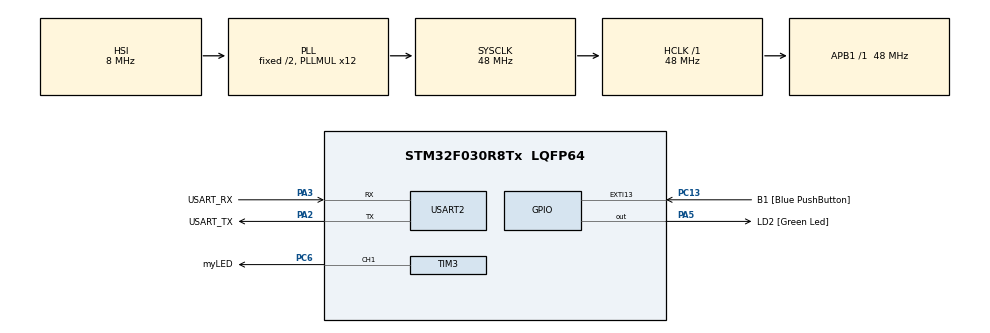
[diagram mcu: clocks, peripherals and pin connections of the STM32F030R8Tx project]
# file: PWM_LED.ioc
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Mcu.Family=STM32F0
Mcu.Name=STM32F030R8Tx
Mcu.Package=LQFP64
PA13.GPIO_Label=TMS
PA13.Mode=Serial_Wire
PA13.Signal=SYS_SWDIO
PA14.GPIO_Label=TCK
PA14.Mode=Serial_Wire
PA14.Signal=SYS_SWCLK
PA2.GPIO_Label=USART_TX
PA2.GPIO_Mode=GPIO_MODE_AF_PP
PA2.GPIO_PuPd=GPIO_NOPULL
PA2.GPIO_Speed=GPIO_SPEED_FREQ_LOW
PA2.Mode=Asynchronous
PA2.Signal=USART2_TX
PA3.GPIO_Label=USART_RX
PA3.GPIO_Mode=GPIO_MODE_AF_PP
PA3.GPIO_PuPd=GPIO_NOPULL
PA3.GPIO_Speed=GPIO_SPEED_FREQ_LOW
PA3.Mode=Asynchronous
PA3.Signal=USART2_RX
PA5.GPIO_Label=LD2 [Green Led]
PA5.GPIO_Mode=GPIO_MODE_OUTPUT_PP
PA5.GPIO_PuPd=GPIO_NOPULL
PA5.GPIO_Speed=GPIO_SPEED_FREQ_LOW
PA5.Signal=GPIO_Output
PC13.GPIO_Label=B1 [Blue PushButton]
PC13.GPIO_ModeDefaultEXTI=GPIO_MODE_IT_FALLING
PC13.Signal=GPXTI13
PC14-OSC32_IN.Mode=LSE-External-Oscillator
PC14-OSC32_IN.Signal=RCC_OSC32_IN
PC15-OSC32_OUT.Mode=LSE-External-Oscillator
PC15-OSC32_OUT.Signal=RCC_OSC32_OUT
PC6.GPIO_Label=myLED
PC6.Signal=S_TIM3_CH1
PF0-OSC_IN.Mode=HSE-External-Clock-Source
PF0-OSC_IN.Signal=RCC_OSC_IN
PF1-OSC_OUT.Signal=RCC_OSC_OUT
ProjectManager.HeapSize=0x200
ProjectManager.StackSize=0x400
ProjectManager.TargetToolchain=STM32CubeIDE
RCC.AHBFreq_Value=48000000
RCC.APB1Freq_Value=48000000
RCC.APB1TimFreq_Value=48000000
RCC.HCLKFreq_Value=48000000
RCC.PLLMUL=RCC_PLL_MUL12
RCC.SYSCLKFreq_VALUE=48000000
RCC.SYSCLKSource=RCC_SYSCLKSOURCE_PLLCLK
SH.S_TIM3_CH1.0=TIM3_CH1,PWM Generation1 CH1
TIM3.Channel-PWM\ Generation1\ CH1=TIM_CHANNEL_1
TIM3.Period=50
TIM3.Prescaler=5000
TIM3.Pulse-PWM\ Generation1\ CH1=25
USART2.VirtualMode-Asynchronous=VM_ASYNC
VP_TIM3_VS_ClockSourceINT.Mode=Internal
board=NUCLEO-F030R8

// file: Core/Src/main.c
/* USER CODE BEGIN Header */
/**
  ******************************************************************************
  * @file           : main.c
  * @brief          : Main program body
  ******************************************************************************
  * @attention
  *
  * Copyright (c) 2024 STMicroelectronics.
  * All rights reserved.
  *
  * This software is licensed under terms that can be found in the LICENSE file
  * in the root directory of this software component.
  * If no LICENSE file comes with this software, it is provided AS-IS.
  *
  ******************************************************************************
  */
/* USER CODE END Header */
#include "main.h"

/* USER CODE BEGIN PD */
#define BRIGHTNESS_INIT 50			// initial brightness in %
#define BRIGHTNESS_STEP_INIT 2		// initial step size in %
/* USER CODE END PD */

TIM_HandleTypeDef htim3;

UART_HandleTypeDef huart2;

void SystemClock_Config(void);
static void MX_GPIO_Init(void);
static void MX_USART2_UART_Init(void);
static void MX_TIM3_Init(void);
/* USER CODE BEGIN PFP */
void PWM_setvalue(uint16_t value);
/* USER CODE END PFP */

int main(void)
{

  /* USER CODE BEGIN 1 */
	int brightness = BRIGHTNESS_INIT;				// brightness in %
	int brightnessStepSize=BRIGHTNESS_STEP_INIT; 	// step size in %
	int brightnessStep = BRIGHTNESS_STEP_INIT; 	// current step (positive or negative)

  /* USER CODE END 1 */

  /* MCU Configuration--------------------------------------------------------*/

  /* Reset of all peripherals, Initializes the Flash interface and the Systick. */
  HAL_Init();

  /* Configure the system clock */
  SystemClock_Config();

  /* Initialize all configured peripherals */
  MX_GPIO_Init();
  MX_USART2_UART_Init();
  MX_TIM3_Init();

  /* Infinite loop */
  /* USER CODE BEGIN WHILE */
  while (1)
   {
 	  PWM_setvalue(brightness/2);
 	  HAL_Delay(150);
 	  brightness += brightnessStep;
 	  if (brightness<=0) brightnessStep= brightnessStepSize;	// up
 	  if (brightness>=100) brightnessStep= -brightnessStepSize;	// down
    /* USER CODE END WHILE */

  }
}

void SystemClock_Config(void)
{
  RCC_OscInitTypeDef RCC_OscInitStruct = {0};
  RCC_ClkInitTypeDef RCC_ClkInitStruct = {0};

  /** Initializes the RCC Oscillators according to the specified parameters
  * in the RCC_OscInitTypeDef structure.
  */
  RCC_OscInitStruct.OscillatorType = RCC_OSCILLATORTYPE_HSI;
  RCC_OscInitStruct.HSIState = RCC_HSI_ON;
  RCC_OscInitStruct.HSICalibrationValue = RCC_HSICALIBRATION_DEFAULT;
  RCC_OscInitStruct.PLL.PLLState = RCC_PLL_ON;
  RCC_OscInitStruct.PLL.PLLSource = RCC_PLLSOURCE_HSI;
  RCC_OscInitStruct.PLL.PLLMUL = RCC_PLL_MUL12;
  RCC_OscInitStruct.PLL.PREDIV = RCC_PREDIV_DIV1;
  if (HAL_RCC_OscConfig(&RCC_OscInitStruct) != HAL_OK)
  {
    Error_Handler();
  }

  /** Initializes the CPU, AHB and APB buses clocks
  */
  RCC_ClkInitStruct.ClockType = RCC_CLOCKTYPE_HCLK|RCC_CLOCKTYPE_SYSCLK
                              |RCC_CLOCKTYPE_PCLK1;
  RCC_ClkInitStruct.SYSCLKSource = RCC_SYSCLKSOURCE_PLLCLK;
  RCC_ClkInitStruct.AHBCLKDivider = RCC_SYSCLK_DIV1;
  RCC_ClkInitStruct.APB1CLKDivider = RCC_HCLK_DIV1;

  if (HAL_RCC_ClockConfig(&RCC_ClkInitStruct, FLASH_LATENCY_1) != HAL_OK)
  {
    Error_Handler();
  }
}

static void MX_TIM3_Init(void)
{

  TIM_ClockConfigTypeDef sClockSourceConfig = {0};
  TIM_MasterConfigTypeDef sMasterConfig = {0};
  TIM_OC_InitTypeDef sConfigOC = {0};

  htim3.Instance = TIM3;
  htim3.Init.Prescaler = 5000;
  htim3.Init.CounterMode = TIM_COUNTERMODE_UP;
  htim3.Init.Period = 50;
  htim3.Init.ClockDivision = TIM_CLOCKDIVISION_DIV1;
  htim3.Init.AutoReloadPreload = TIM_AUTORELOAD_PRELOAD_DISABLE;
  if (HAL_TIM_Base_Init(&htim3) != HAL_OK)
  {
    Error_Handler();
  }
  sClockSourceConfig.ClockSource = TIM_CLOCKSOURCE_INTERNAL;
  if (HAL_TIM_ConfigClockSource(&htim3, &sClockSourceConfig) != HAL_OK)
  {
    Error_Handler();
  }
  if (HAL_TIM_PWM_Init(&htim3) != HAL_OK)
  {
    Error_Handler();
  }
  sMasterConfig.MasterOutputTrigger = TIM_TRGO_RESET;
  sMasterConfig.MasterSlaveMode = TIM_MASTERSLAVEMODE_DISABLE;
  if (HAL_TIMEx_MasterConfigSynchronization(&htim3, &sMasterConfig) != HAL_OK)
  {
    Error_Handler();
  }
  sConfigOC.OCMode = TIM_OCMODE_PWM1;
  sConfigOC.Pulse = 25;
  sConfigOC.OCPolarity = TIM_OCPOLARITY_HIGH;
  sConfigOC.OCFastMode = TIM_OCFAST_DISABLE;
  if (HAL_TIM_PWM_ConfigChannel(&htim3, &sConfigOC, TIM_CHANNEL_1) != HAL_OK)
  {
    Error_Handler();
  }
  HAL_TIM_MspPostInit(&htim3);

}

static void MX_USART2_UART_Init(void)
{

  huart2.Instance = USART2;
  huart2.Init.BaudRate = 38400;
  huart2.Init.WordLength = UART_WORDLENGTH_8B;
  huart2.Init.StopBits = UART_STOPBITS_1;
  huart2.Init.Parity = UART_PARITY_NONE;
  huart2.Init.Mode = UART_MODE_TX_RX;
  huart2.Init.HwFlowCtl = UART_HWCONTROL_NONE;
  huart2.Init.OverSampling = UART_OVERSAMPLING_16;
  huart2.Init.OneBitSampling = UART_ONE_BIT_SAMPLE_DISABLE;
  huart2.AdvancedInit.AdvFeatureInit = UART_ADVFEATURE_NO_INIT;
  if (HAL_UART_Init(&huart2) != HAL_OK)
  {
    Error_Handler();
  }

}

static void MX_GPIO_Init(void)
{
  GPIO_InitTypeDef GPIO_InitStruct = {0};

  /* GPIO Ports Clock Enable */
  __HAL_RCC_GPIOC_CLK_ENABLE();
  __HAL_RCC_GPIOF_CLK_ENABLE();
  __HAL_RCC_GPIOA_CLK_ENABLE();

  /*Configure GPIO pin Output Level */
  HAL_GPIO_WritePin(LD2_GPIO_Port, LD2_Pin, GPIO_PIN_RESET);

  /*Configure GPIO pin : B1_Pin */
  GPIO_InitStruct.Pin = B1_Pin;
  GPIO_InitStruct.Mode = GPIO_MODE_IT_FALLING;
  GPIO_InitStruct.Pull = GPIO_NOPULL;
  HAL_GPIO_Init(B1_GPIO_Port, &GPIO_InitStruct);

  /*Configure GPIO pin : LD2_Pin */
  GPIO_InitStruct.Pin = LD2_Pin;
  GPIO_InitStruct.Mode = GPIO_MODE_OUTPUT_PP;
  GPIO_InitStruct.Pull = GPIO_NOPULL;
  GPIO_InitStruct.Speed = GPIO_SPEED_FREQ_LOW;
  HAL_GPIO_Init(LD2_GPIO_Port, &GPIO_InitStruct);

}

/* USER CODE BEGIN 4 */
void PWM_setvalue(uint16_t value)
{
    TIM_OC_InitTypeDef sConfigOC;

    HAL_TIM_PWM_Stop(&htim3, TIM_CHANNEL_1);

    sConfigOC.OCMode = TIM_OCMODE_PWM1;
    sConfigOC.Pulse = value;
    sConfigOC.OCPolarity = TIM_OCPOLARITY_HIGH;
    sConfigOC.OCFastMode = TIM_OCFAST_DISABLE;
    if (HAL_TIM_PWM_ConfigChannel(&htim3, &sConfigOC, TIM_CHANNEL_1) != HAL_OK)
    {
      Error_Handler();
    }
    HAL_TIM_PWM_Start(&htim3, TIM_CHANNEL_1);
}

/* USER CODE END 4 */

void Error_Handler(void)
{
  __disable_irq();
  while (1)
  {
  }
}
